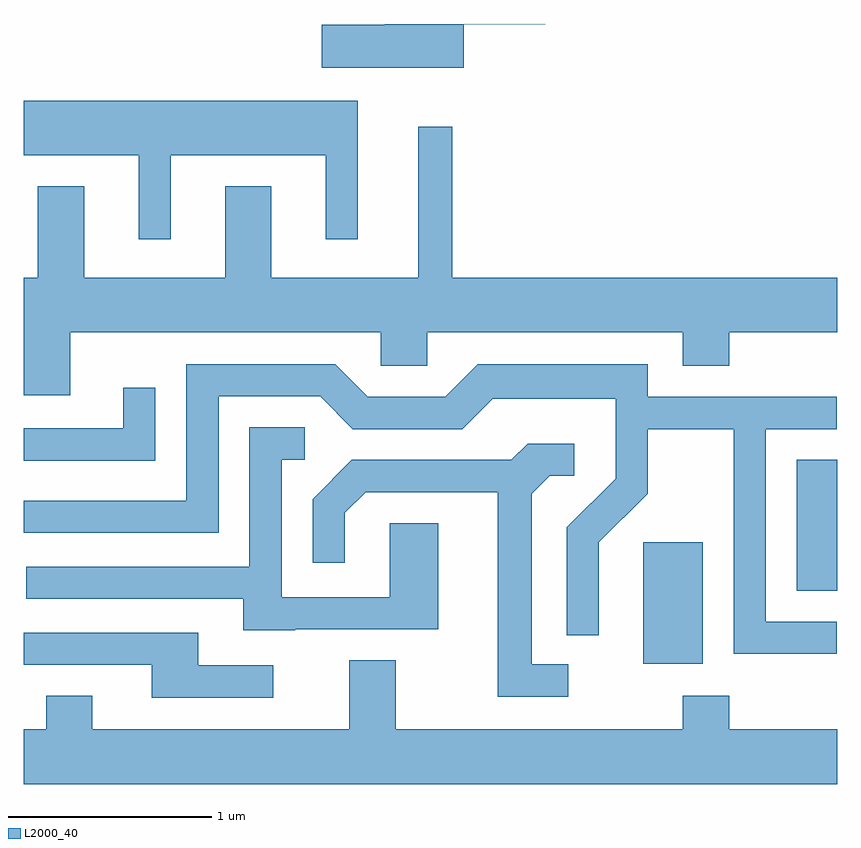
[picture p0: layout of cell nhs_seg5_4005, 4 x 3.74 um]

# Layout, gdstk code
import gdstk
lib = gdstk.Library(unit=1e-6, precision=1e-09)
def R(c, l, rs):  # rectangles x0, y0, x1, y1
    for r in rs: c.add(gdstk.rectangle(r[:2], r[2:], *l))
def P(c, l, *ps):  # polygons
    for p in ps: c.add(gdstk.Polygon(p, *l))
L2000_40 = (2000, 40)

nhs_seg5_4005 = lib.new_cell('nhs_seg5_4005')
R(nhs_seg5_4005, L2000_40, [(306.656,1472.926,306.949,1473.524), (307.411,1473.286,307.611,1473.929)])
P(nhs_seg5_4005, L2000_40, [(305.774,1476.071),(306.174,1476.071),(306.174,1476.072),(305.386,1476.072),(305.386,1476.069),(305.076,1476.069),(305.076,1475.856),(305.774,1475.856)],
  [(304.334,1475.426),(305.096,1475.426),(305.096,1475.013),(305.254,1475.013),(305.254,1475.694),(303.611,1475.694),(303.611,1475.426),(304.176,1475.426),(304.176,1475.013),(304.334,1475.013)],
  [(303.839,1474.556),(305.366,1474.556),(305.366,1474.391),(305.594,1474.391),(305.594,1474.556),(306.851,1474.556),(306.851,1474.391),(307.079,1474.391),(307.079,1474.556),(307.611,1474.556),(307.611,1474.824),(305.719,1474.824),(305.719,1475.568),(305.551,1475.568),(305.551,1474.824),(304.829,1474.824),(304.829,1475.274),(304.601,1475.274),(304.601,1474.824),(303.909,1474.824),(303.909,1475.274),(303.681,1475.274),(303.681,1474.824),(303.611,1474.824),(303.611,1474.246),(303.839,1474.246)],
  [(307.608,1473.134),(307.259,1473.134),(307.259,1474.081),(307.608,1474.081),(307.608,1474.239),(306.679,1474.239),(306.679,1474.399),(305.844,1474.399),(305.684,1474.239),(305.302,1474.239),(305.142,1474.399),(304.411,1474.399),(304.411,1473.729),(303.611,1473.729),(303.611,1473.571),(304.569,1473.571),(304.569,1474.241),(305.069,1474.241),(305.229,1474.081),(305.767,1474.081),(305.917,1474.231),(306.521,1474.231),(306.521,1473.837),(306.281,1473.597),(306.281,1473.068),(306.439,1473.068),(306.439,1473.524),(306.679,1473.764),(306.679,1474.081),(307.101,1474.081),(307.101,1472.976),(307.608,1472.976)],
  [(304.259,1474.283),(304.101,1474.283),(304.101,1474.084),(303.611,1474.084),(303.611,1473.926),(304.259,1473.926)],
  [(304.945,1473.096),(305.649,1473.096),(305.649,1473.619),(305.411,1473.619),(305.411,1473.254),(304.879,1473.254),(304.879,1473.931),(304.993,1473.931),(304.993,1474.089),(304.721,1474.089),(304.721,1473.404),(303.623,1473.404),(303.623,1473.246),(304.691,1473.246),(304.691,1473.091),(304.945,1473.091)],
  [(306.288,1472.924),(306.109,1472.924),(306.109,1473.764),(306.197,1473.851),(306.318,1473.851),(306.318,1474.009),(306.089,1474.009),(306.009,1473.929),(305.224,1473.929),(305.031,1473.737),(305.031,1473.423),(305.189,1473.423),(305.189,1473.669),(305.292,1473.771),(305.941,1473.771),(305.941,1472.766),(306.288,1472.766)],
  [(304.838,1472.919),(304.469,1472.919),(304.469,1473.079),(303.611,1473.079),(303.611,1472.921),(304.241,1472.921),(304.241,1472.761),(304.838,1472.761)],
  [(307.611,1472.604),(307.079,1472.604),(307.079,1472.769),(306.851,1472.769),(306.851,1472.604),(305.439,1472.604),(305.439,1472.944),(305.211,1472.944),(305.211,1472.604),(303.949,1472.604),(303.949,1472.769),(303.721,1472.769),(303.721,1472.604),(303.611,1472.604),(303.611,1472.336),(307.611,1472.336)])

lib.write_gds('nhs_seg5_4005.gds')
